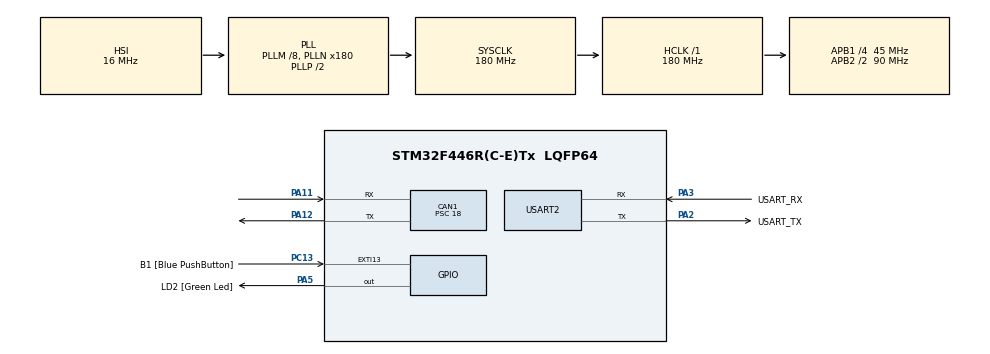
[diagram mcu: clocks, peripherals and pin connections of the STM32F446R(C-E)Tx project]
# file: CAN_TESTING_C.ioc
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CAN1.BS1=CAN_BS1_2TQ
CAN1.BS2=CAN_BS2_2TQ
CAN1.CalculateBaudRate=500000
CAN1.CalculateTimeBit=2000
CAN1.CalculateTimeQuantum=400.0
CAN1.Prescaler=18
Mcu.Family=STM32F4
Mcu.Name=STM32F446R(C-E)Tx
Mcu.Package=LQFP64
NVIC.CAN1_RX0_IRQn=true\:0\:0\:false\:false\:true\:true\:true\:true
NVIC.PriorityGroup=NVIC_PRIORITYGROUP_0
PA11.GPIO_PuPd=GPIO_PULLUP
PA11.Mode=CAN_Activate
PA11.Signal=CAN1_RX
PA12.Mode=CAN_Activate
PA12.Signal=CAN1_TX
PA13.GPIO_Label=TMS
PA13.Mode=Serial_Wire
PA13.Signal=SYS_JTMS-SWDIO
PA14.GPIO_Label=TCK
PA14.Mode=Serial_Wire
PA14.Signal=SYS_JTCK-SWCLK
PA2.GPIO_Label=USART_TX
PA2.Mode=Asynchronous
PA2.Signal=USART2_TX
PA3.GPIO_Label=USART_RX
PA3.Mode=Asynchronous
PA3.Signal=USART2_RX
PA5.GPIO_Label=LD2 [Green Led]
PA5.Signal=GPIO_Output
PB3.GPIO_Label=SWO
PB3.Signal=SYS_JTDO-SWO
PC13.GPIO_Label=B1 [Blue PushButton]
PC13.GPIO_ModeDefaultEXTI=GPIO_MODE_IT_FALLING
PC13.Signal=GPXTI13
PC14-OSC32_IN.Mode=LSE-External-Oscillator
PC14-OSC32_IN.Signal=RCC_OSC32_IN
PC15-OSC32_OUT.Mode=LSE-External-Oscillator
PC15-OSC32_OUT.Signal=RCC_OSC32_OUT
PH0-OSC_IN.Mode=HSE-External-Oscillator
PH0-OSC_IN.Signal=RCC_OSC_IN
PH1-OSC_OUT.Mode=HSE-External-Oscillator
PH1-OSC_OUT.Signal=RCC_OSC_OUT
ProjectManager.HeapSize=0x200
ProjectManager.StackSize=0x400
ProjectManager.TargetToolchain=STM32CubeIDE
RCC.48MHZClocksFreq_Value=84000000
RCC.AHBFreq_Value=180000000
RCC.APB1CLKDivider=RCC_HCLK_DIV4
RCC.APB1Freq_Value=45000000
RCC.APB1TimFreq_Value=90000000
RCC.APB2CLKDivider=RCC_HCLK_DIV2
RCC.APB2Freq_Value=90000000
RCC.APB2TimFreq_Value=180000000
RCC.CortexFreq_Value=180000000
RCC.FLatency-AdvancedSettings=FLASH_LATENCY_5
RCC.HCLKFreq_Value=180000000
RCC.HSE_VALUE=8000000
RCC.HSI_VALUE=16000000
RCC.PLLM=8
RCC.PLLN=180
RCC.SYSCLKFreq_VALUE=180000000
RCC.SYSCLKSource=RCC_SYSCLKSOURCE_PLLCLK
RCC.USBFreq_Value=180000000
RCC.VCOOutputFreq_Value=360000000
USART2.VirtualMode=VM_ASYNC
board=NUCLEO-F446RE

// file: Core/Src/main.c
/* USER CODE BEGIN Header */
/**
  ******************************************************************************
  * @file           : main.c
  * @brief          : Main program body
  ******************************************************************************
  * @attention
  *
  * Copyright (c) 2025 STMicroelectronics.
  * All rights reserved.
  *
  * This software is licensed under terms that can be found in the LICENSE file
  * in the root directory of this software component.
  * If no LICENSE file comes with this software, it is provided AS-IS.
  *
  ******************************************************************************
  */
/* USER CODE END Header */
#include "main.h"

CAN_HandleTypeDef hcan1;

UART_HandleTypeDef huart2;

/* USER CODE BEGIN PV */
uint8_t TxData[8];
uint8_t RxData[48][8];
uint8_t RxIndex = 0;

uint32_t TxMailbox;

CAN_TxHeaderTypeDef TxHeader;
CAN_RxHeaderTypeDef RxHeader;
/* USER CODE END PV */

void SystemClock_Config(void);
static void MX_GPIO_Init(void);
static void MX_USART2_UART_Init(void);
static void MX_CAN1_Init(void);

/* USER CODE BEGIN 0 */
void HAL_CAN_RxFifo0MsgPendingCallback(CAN_HandleTypeDef *hcan) {
  HAL_CAN_GetRxMessage(&hcan1, CAN_RX_FIFO0, &RxHeader, RxData[RxIndex]);

  RxIndex = (RxIndex + 1) % 48;

}
/* USER CODE END 0 */

int main(void)
{

  /* MCU Configuration--------------------------------------------------------*/

  /* Reset of all peripherals, Initializes the Flash interface and the Systick. */
  HAL_Init();

  /* Configure the system clock */
  SystemClock_Config();

  /* Initialize all configured peripherals */
  MX_GPIO_Init();
  MX_USART2_UART_Init();
  MX_CAN1_Init();
  /* USER CODE BEGIN 2 */
  HAL_CAN_Start(&hcan1);
    HAL_CAN_ActivateNotification(&hcan1, CAN_IT_RX_FIFO0_MSG_PENDING);

    TxHeader.DLC = 8; //data length
    TxHeader.IDE = CAN_ID_STD;
    TxHeader.RTR = CAN_RTR_DATA;
    TxHeader.StdId = 0x003; // my id

    for(int i = 0; i < 48; i++){
  	  for(int j = 0; j < 8; j++)
  		  RxData[i][j] = 0x0;
      }
  /* USER CODE END 2 */

  /* Infinite loop */
  while (1)
  {

    /* USER CODE BEGIN 3 */
		int k = 0;

  }
  /* USER CODE END 3 */
}

void SystemClock_Config(void)
{
  RCC_OscInitTypeDef RCC_OscInitStruct = {0};
  RCC_ClkInitTypeDef RCC_ClkInitStruct = {0};

  /** Configure the main internal regulator output voltage
  */
  __HAL_RCC_PWR_CLK_ENABLE();
  __HAL_PWR_VOLTAGESCALING_CONFIG(PWR_REGULATOR_VOLTAGE_SCALE1);

  /** Initializes the RCC Oscillators according to the specified parameters
  * in the RCC_OscInitTypeDef structure.
  */
  RCC_OscInitStruct.OscillatorType = RCC_OSCILLATORTYPE_HSI;
  RCC_OscInitStruct.HSIState = RCC_HSI_ON;
  RCC_OscInitStruct.HSICalibrationValue = RCC_HSICALIBRATION_DEFAULT;
  RCC_OscInitStruct.PLL.PLLState = RCC_PLL_ON;
  RCC_OscInitStruct.PLL.PLLSource = RCC_PLLSOURCE_HSI;
  RCC_OscInitStruct.PLL.PLLM = 8;
  RCC_OscInitStruct.PLL.PLLN = 180;
  RCC_OscInitStruct.PLL.PLLP = RCC_PLLP_DIV2;
  RCC_OscInitStruct.PLL.PLLQ = 2;
  RCC_OscInitStruct.PLL.PLLR = 2;
  if (HAL_RCC_OscConfig(&RCC_OscInitStruct) != HAL_OK)
  {
    Error_Handler();
  }

  /** Activate the Over-Drive mode
  */
  if (HAL_PWREx_EnableOverDrive() != HAL_OK)
  {
    Error_Handler();
  }

  /** Initializes the CPU, AHB and APB buses clocks
  */
  RCC_ClkInitStruct.ClockType = RCC_CLOCKTYPE_HCLK|RCC_CLOCKTYPE_SYSCLK
                              |RCC_CLOCKTYPE_PCLK1|RCC_CLOCKTYPE_PCLK2;
  RCC_ClkInitStruct.SYSCLKSource = RCC_SYSCLKSOURCE_PLLCLK;
  RCC_ClkInitStruct.AHBCLKDivider = RCC_SYSCLK_DIV1;
  RCC_ClkInitStruct.APB1CLKDivider = RCC_HCLK_DIV4;
  RCC_ClkInitStruct.APB2CLKDivider = RCC_HCLK_DIV2;

  if (HAL_RCC_ClockConfig(&RCC_ClkInitStruct, FLASH_LATENCY_5) != HAL_OK)
  {
    Error_Handler();
  }
}

static void MX_CAN1_Init(void)
{

  hcan1.Instance = CAN1;
  hcan1.Init.Prescaler = 18;
  hcan1.Init.Mode = CAN_MODE_NORMAL;
  hcan1.Init.SyncJumpWidth = CAN_SJW_1TQ;
  hcan1.Init.TimeSeg1 = CAN_BS1_2TQ;
  hcan1.Init.TimeSeg2 = CAN_BS2_2TQ;
  hcan1.Init.TimeTriggeredMode = DISABLE;
  hcan1.Init.AutoBusOff = DISABLE;
  hcan1.Init.AutoWakeUp = DISABLE;
  hcan1.Init.AutoRetransmission = DISABLE;
  hcan1.Init.ReceiveFifoLocked = DISABLE;
  hcan1.Init.TransmitFifoPriority = DISABLE;
  if (HAL_CAN_Init(&hcan1) != HAL_OK)
  {
    Error_Handler();
  }
  /* USER CODE BEGIN CAN1_Init 2 */
  CAN_FilterTypeDef sFilter = {0};
  sFilter.FilterBank = 0;                         // 0..13 on single CAN instance devices
  sFilter.FilterMode = CAN_FILTERMODE_IDMASK;
  sFilter.FilterScale = CAN_FILTERSCALE_32BIT;
  sFilter.FilterIdHigh = 0x7E4 << 5;
  sFilter.FilterIdLow  = 0x0000;
  sFilter.FilterMaskIdHigh = 0x7FF << 5;
  sFilter.FilterMaskIdLow  = 0x0000;
  sFilter.FilterFIFOAssignment = CAN_RX_FIFO0;
  sFilter.FilterActivation = ENABLE;
  sFilter.SlaveStartFilterBank = 14;              // keep default split
  HAL_CAN_ConfigFilter(&hcan1, &sFilter);
  /* USER CODE END CAN1_Init 2 */

}

static void MX_USART2_UART_Init(void)
{

  huart2.Instance = USART2;
  huart2.Init.BaudRate = 115200;
  huart2.Init.WordLength = UART_WORDLENGTH_8B;
  huart2.Init.StopBits = UART_STOPBITS_1;
  huart2.Init.Parity = UART_PARITY_NONE;
  huart2.Init.Mode = UART_MODE_TX_RX;
  huart2.Init.HwFlowCtl = UART_HWCONTROL_NONE;
  huart2.Init.OverSampling = UART_OVERSAMPLING_16;
  if (HAL_UART_Init(&huart2) != HAL_OK)
  {
    Error_Handler();
  }

}

static void MX_GPIO_Init(void)
{
  GPIO_InitTypeDef GPIO_InitStruct = {0};

  /* GPIO Ports Clock Enable */
  __HAL_RCC_GPIOC_CLK_ENABLE();
  __HAL_RCC_GPIOH_CLK_ENABLE();
  __HAL_RCC_GPIOA_CLK_ENABLE();
  __HAL_RCC_GPIOB_CLK_ENABLE();

  /*Configure GPIO pin Output Level */
  HAL_GPIO_WritePin(LD2_GPIO_Port, LD2_Pin, GPIO_PIN_RESET);

  /*Configure GPIO pin : B1_Pin */
  GPIO_InitStruct.Pin = B1_Pin;
  GPIO_InitStruct.Mode = GPIO_MODE_IT_FALLING;
  GPIO_InitStruct.Pull = GPIO_NOPULL;
  HAL_GPIO_Init(B1_GPIO_Port, &GPIO_InitStruct);

  /*Configure GPIO pin : LD2_Pin */
  GPIO_InitStruct.Pin = LD2_Pin;
  GPIO_InitStruct.Mode = GPIO_MODE_OUTPUT_PP;
  GPIO_InitStruct.Pull = GPIO_NOPULL;
  GPIO_InitStruct.Speed = GPIO_SPEED_FREQ_LOW;
  HAL_GPIO_Init(LD2_GPIO_Port, &GPIO_InitStruct);

}

void Error_Handler(void)
{
  __disable_irq();
  while (1)
  {
  }
}
